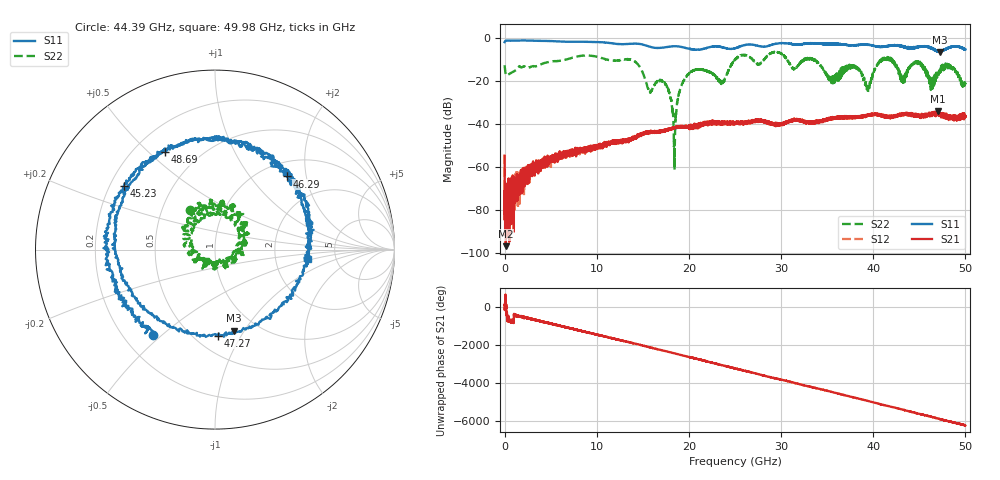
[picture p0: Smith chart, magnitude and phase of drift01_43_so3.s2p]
!Created with skrf (http://scikit-rf.org).
# Hz S RI R 50.0
!freq ReS11 ImS11 ReS21 ImS21 ReS12 ImS12 ReS22 ImS22
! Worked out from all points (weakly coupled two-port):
!   10001 points, 300 kHz to 50 GHz, reference 50 ohm
!   highest |S21| = -34.16 dB at 47.04 GHz (marker M1); lowest = -96.9 dB at 130.3 MHz (marker M2)
!   lowest |S11| = -6.7 dB at 47.2 GHz (marker M3), VSWR 2.72, Z = 39.1 - j44.9 ohm
!   |S11| at or under -10 dB: nowhere
!   |S22| runs from -61.6 to -6.6 dB; largest |S21 - S12| = 0.0044
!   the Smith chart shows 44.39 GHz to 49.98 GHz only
!   S11 on the Smith chart (normalised r, x): 44.39 GHz: 0.32, -0.47; 45.23 GHz: 0.26, +0.29; 46.29 GHz: 1.28, +1.56; 47.27 GHz: 0.64, -0.80; 48.69 GHz: 0.33, +0.56; 49.98 GHz: 3.09, -0.44
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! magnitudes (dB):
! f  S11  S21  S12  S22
! 300 kHz  -2.1  -54.9  -54.7  -12.9
! 130.3 MHz  -1.5  -96.9  -73.1  -17.2
! 8.335 GHz  -1.9  -52.6  -52.7  -8.5
! 16.67 GHz  -4.9  -43.8  -43.4  -20.0
! 17.74 GHz  -4.3  -42.6  -43.2  -23.8
! 18.43 GHz  -4.1  -41.7  -41.9  -55.5
! 19.91 GHz  -5.1  -41.4  -41.3  -17.1
! 23.6 GHz  -4.5  -39.9  -39.8  -20.5
! 25 GHz  -5.0  -39.5  -39.3  -10.4
! 33.34 GHz  -2.6  -39.5  -39.4  -10.0
! 39.36 GHz  -3.3  -36.0  -36.2  -23.1
! 41.67 GHz  -3.9  -36.9  -36.9  -9.6
! 43.18 GHz  -4.2  -35.2  -35.6  -19.2
! 44.39 GHz  -4.6  -36.1  -36.2  -11.6
! 45.23 GHz  -4.2  -36.4  -36.6  -12.2
! 46.29 GHz  -4.8  -35.5  -35.3  -21.7
! 47.04 GHz  -6.5  -34.2  -35.6  -15.6
! 47.2 GHz  -6.7  -35.9  -35.4  -14.2
! 47.27 GHz  -6.4  -35.2  -35.3  -16.1
! 48.69 GHz  -4.3  -36.9  -37.2  -13.9
! 49.98 GHz  -5.7  -36.2  -36.0  -21.6
! 50 GHz  -5.5  -36.6  -36.6  -21.6
